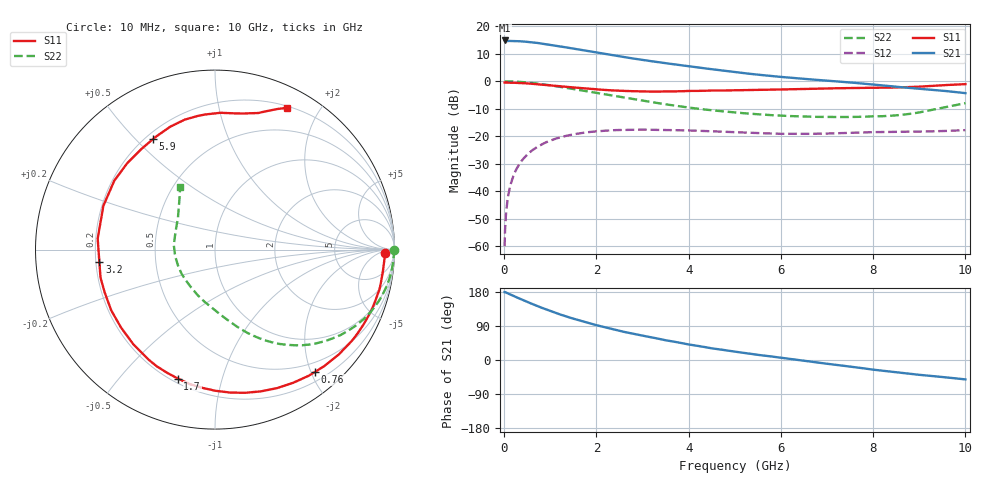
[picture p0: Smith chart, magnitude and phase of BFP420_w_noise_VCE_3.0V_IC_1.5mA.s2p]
! Infineon Technologies  Discrete & RF Semiconductors
! BFP420
! VCE =  3.0 V,  IC =  1.5 mA
! Common Emitter S-Parameters:  Jan 2016
# GHz  S  MA  R  50
!  f  S11  S21  S12  S22
! GHz  MAG  ANG  MAG  ANG  MAG  ANG  MAG  ANG
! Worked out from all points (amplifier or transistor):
!   233 points, 10 MHz to 10 GHz, reference 50 ohm
!   highest |S21| = 14.9 dB at 10 MHz (marker M1)
!   |S21| within 3 dB of that: start of sweep to 1.512 GHz
!   unconditionally stable (mu >= 1): 4.115 GHz to end of sweep
!   at 200 MHz: K = 0.02, MSG = 24.5 dB, |S12| = -34.4 dB
!   at 1.74 GHz: K = 0.32, MSG = 14.9 dB, |S12| = -18.7 dB
!   at 10 GHz: K = 1.27, MAG = 3.6 dB, |S12| = -17.8 dB
!   lowest NFmin = 0.52 dB at 900 MHz
!   S11 on the Smith chart (normalised r, x): 10 MHz: 31, -13; 760 MHz: 0.34, -2.06; 1.7 GHz: 0.22, -0.73; 3.2 GHz: 0.21, -0.05; 5.9 GHz: 0.23, +0.56; 10 GHz: 0.22, +1.61
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0.01  0.9463 -1.3  5.534 179.3  0.001 87.2  0.9959 0.0
0.02  0.9472 -1.3  5.361 179.2  0.002 84.2  0.9961 -0.7
0.03  0.9466 -1.9  5.37 178.5  0.0029 86.5  0.9962 -1.1
0.06  0.945 -3.9  5.397 176.7  0.0057 87.5  0.9962 -2.2
0.17  0.9423 -11.5  5.415 171.0  0.0162 83.3  0.9916 -6.3
0.34  0.9318 -23.0  5.348 161.9  0.0321 76.6  0.9759 -12.6
0.5  0.9165 -33.7  5.225 153.4  0.0463 70.5  0.9524 -18.3
0.76  0.8801 -50.7  4.932 140.5  0.067 60.5  0.9007 -27.0
1  0.8453 -66.0  4.618 129.3  0.0834 52.3  0.8449 -34.4
1.2  0.8153 -78.1  4.336 120.7  0.0948 46.0  0.7959 -39.9
1.68  0.7499 -105.0  3.709 102.5  0.1145 32.6  0.6826 -51.3
1.7  0.7476 -106.1  3.686 101.8  0.1152 32.1  0.6782 -51.7
1.98  0.7179 -120.1  3.353 92.5  0.1223 25.5  0.6193 -57.2
2.4  0.6802 -140.3  2.935 79.9  0.1293 16.6  0.539 -64.7
3.2  0.6479 -173.9  2.316 59.6  0.1311 3.6  0.4181 -77.2
3.4  0.6508 178.5  2.194 54.7  0.1306 0.9  0.3931 -80.6
4  0.668 158.6  1.884 41.0  0.1277 -5.7  0.3327 -91.2
5.1  0.6865 133.5  1.436 20.4  0.1179 -13.3  0.267 -112.7
5.9  0.7057 119.3  1.224 7.6  0.1115 -15.1  0.2395 -130.1
6.8  0.7364 105.8  1.057 -6.6  0.1113 -15.0  0.2252 -151.8
8.4  0.7679 81.1  0.811 -31.1  0.1198 -18.8  0.2364 160.3
10  0.8872 63.0  0.609 -51.2  0.1293 -21.5  0.3999 119.1
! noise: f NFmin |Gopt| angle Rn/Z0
0.9  0.52  0.55  33  0.27
1.8  1.07  0.35  77  0.21
2.4  1.18  0.36  101  0.18
3  1.41  0.36  134  0.13
4  1.68  0.4  -172  0.1
5  2.08  0.44  -130  0.32
6  2.89  0.57  -114  0.39
